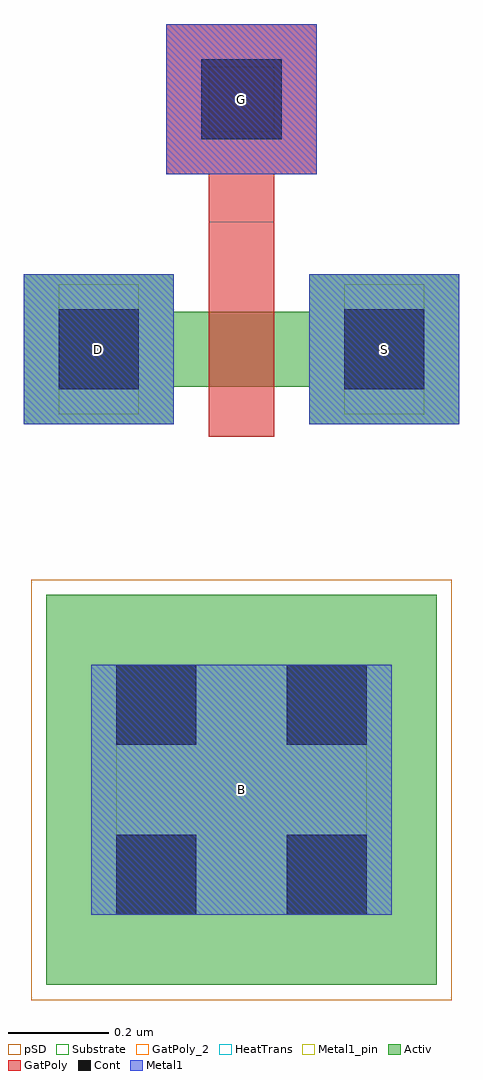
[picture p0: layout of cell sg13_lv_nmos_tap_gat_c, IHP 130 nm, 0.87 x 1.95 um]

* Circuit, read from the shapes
.subckt sg13_lv_nmos_tap_gat_c B D G S
XM1 S G D B sg13_lv_nmos w=0.15u l=0.13u
.ends

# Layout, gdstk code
from math import pi, radians
import gdstk
lib = gdstk.Library(unit=1e-6, precision=5e-09)
def R(c, l, rs):  # rectangles x0, y0, x1, y1
    for r in rs: c.add(gdstk.rectangle(r[:2], r[2:], *l))
Activ = (1, 0)
GatPoly = (5, 0)
GatPoly_2 = (5, 2)
Cont = (6, 0)
Metal1 = (8, 0)
Metal1_pin = (8, 2)
pSD = (14, 0)
Substrate = (40, 0)
HeatTrans = (51, 0)

nmos_gat_c = lib.new_cell('nmos_gat_c')
R(nmos_gat_c, Activ, [(0,0,0.3,0.3), (0.57,0,0.87,0.3), (0,0.075,0.87,0.225)])
R(nmos_gat_c, GatPoly, [(0.37,-0.025,0.5,0.405)])
R(nmos_gat_c, GatPoly_2, [(0.37,-0.025,0.5,0.405)])
R(nmos_gat_c, Cont, [(0.07,0.07,0.23,0.23), (0.64,0.07,0.8,0.23)])
R(nmos_gat_c, Metal1, [(0.07,0.02,0.23,0.28), (0.64,0.02,0.8,0.28)])
R(nmos_gat_c, Metal1_pin, [(0.07,0.02,0.23,0.28), (0.64,0.02,0.8,0.28)])
R(nmos_gat_c, HeatTrans, [(0.37,-0.025,0.5,0.405)])
nmos_gat_c.add(gdstk.Label('nmos', (0.435,0.15), layer=63, texttype=0))
nmos_gat_c.add(gdstk.Label('nmos', (0.435,0.15), layer=51, texttype=0))

ptap1 = lib.new_cell('ptap1')
R(ptap1, Activ, [(0,0,0.78,0.78)])
R(ptap1, Cont, [(0.14,0.14,0.3,0.3), (0.48,0.14,0.64,0.3), (0.14,0.48,0.3,0.64), (0.48,0.48,0.64,0.64)])
R(ptap1, Metal1, [(0.14,0.09,0.64,0.69), (0.14,0.14,0.64,0.64)])
R(ptap1, Metal1_pin, [(0.14,0.14,0.64,0.64)])
R(ptap1, pSD, [(-0.03,-0.03,0.81,0.81)])
R(ptap1, Substrate, [(0,0,0.78,0.78)])
ptap1.add(gdstk.Label('sub!', (0.39,0.01), layer=63, texttype=0))
ptap1.add(gdstk.Label('sub!', (0.39,0.01), layer=40, texttype=0))

via = lib.new_cell('Via')
R(via, GatPoly, [(-0.15,-0.15,0.15,0.15)])
R(via, Cont, [(-0.08,-0.08,0.08,0.08)])
R(via, Metal1, [(-0.13,-0.08,0.13,0.08)])

sg13_lv_nmos_tap_gat_c = lib.new_cell('sg13_lv_nmos_tap_gat_c')
R(sg13_lv_nmos_tap_gat_c, GatPoly, [(0.37,0.405,0.5,0.5)])
R(sg13_lv_nmos_tap_gat_c, Metal1, [(0,0,0.3,0.3), (0.57,0,0.87,0.3), (0.285,0.5,0.585,0.8)])
R(sg13_lv_nmos_tap_gat_c, Metal1_pin, [(0.37,-0.795,0.5,-0.665), (0.085,0.085,0.215,0.215), (0.655,0.085,0.785,0.215), (0.37,0.585,0.5,0.715)])
sg13_lv_nmos_tap_gat_c.add(gdstk.Reference(nmos_gat_c, (0,0)))
sg13_lv_nmos_tap_gat_c.add(gdstk.Reference(ptap1, (0.045,-0.34), rotation=3*pi/2))
sg13_lv_nmos_tap_gat_c.add(gdstk.Reference(via, (0.435,0.65), rotation=3*pi/2))
sg13_lv_nmos_tap_gat_c.add(gdstk.Label('G', (0.435,0.65), layer=8, texttype=25))
sg13_lv_nmos_tap_gat_c.add(gdstk.Label('B', (0.435,-0.73), layer=8, texttype=25))
sg13_lv_nmos_tap_gat_c.add(gdstk.Label('D', (0.15,0.15), layer=8, texttype=25))
sg13_lv_nmos_tap_gat_c.add(gdstk.Label('S', (0.72,0.15), layer=8, texttype=25))

lib.write_gds('sg13_lv_nmos_tap_gat_c.gds')
